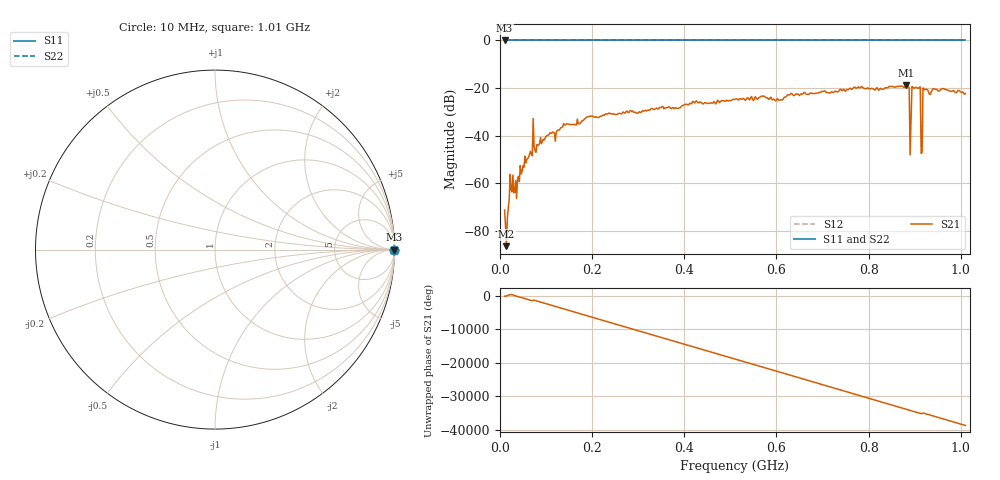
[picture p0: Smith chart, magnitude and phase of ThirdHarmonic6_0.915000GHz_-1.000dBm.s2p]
! 8/16/2025 5:55:47 AM
! C:\ANRITSUVNA\TEMP\TEMP.S2P
! CHANNEL.1
! TR.MEASUREMENT
! RAW.DATA
! RF.CORRECTION.OFF
! AVERAGING.OFF
! IF.BANDWIDTH: 5KHZ
! SWEEPTYPE:  FREQ.SWEEP(Linear)
! Reference Plane Port Info
! PORT:  PORT1  PORT2
! DISTANCE:  0  m  0  m
! TIME:  0  s  0  s
! PHASE.OFFSET:  0  deg.  0  deg.
! LOSS:  0  dB  0  dB
! REF.LOSS:  0  dB  0  dB
! REF.FREQ:  0  Hz  0  Hz
! Power Info
! POWER:  -20  dBm  -20  dBm
! EFF.POWER:  -20  dBm  -20  dBm
! SOURCE.ATTEN:  0  dB  0  dB
! TEST.ATTEN:  0  dB  0  dB
# GHZ S RI R 50.0
! FREQ.GHZ  S11RE  S11IM  S21RE  S21IM  S12RE  S12IM  S22RE  S22IM
!; PortSelection: Port_12
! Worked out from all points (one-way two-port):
!   501 points, 10 MHz to 1.01 GHz, reference 50 ohm
!   highest |S21| = -18.70 dB at 882 MHz (marker M1); lowest = -86.4 dB at 14 MHz (marker M2)
!   lowest |S11| = 0.0 dB at 10 MHz (marker M3)
!   |S11| at or under -10 dB: nowhere
!   |S22| runs from 0.0 to 0.0 dB; largest |S21 - S12| = 1.1
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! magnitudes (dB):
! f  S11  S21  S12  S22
! 10 MHz  0.0  -71.2  0.0  0.0
! 14 MHz  0.0  -86.4  0.0  0.0
! 24 MHz  0.0  -62.7  0.0  0.0
! 34 MHz  0.0  -58.9  0.0  0.0
! 70 MHz  0.0  -48.5  0.0  0.0
! 142 MHz  0.0  -35.5  0.0  0.0
! 178 MHz  0.0  -33.7  0.0  0.0
! 344 MHz  0.0  -28.7  0.0  0.0
! 510 MHz  0.0  -24.8  0.0  0.0
! 678 MHz  0.0  -22.3  0.0  0.0
! 844 MHz  0.0  -19.4  0.0  0.0
! 882 MHz  0.0  -18.7  0.0  0.0
! 884 MHz  0.0  -18.9  0.0  0.0
! 888 MHz  0.0  -20.2  0.0  0.0
! 892 MHz  0.0  -33.3  0.0  0.0
! 894 MHz  0.0  -19.4  0.0  0.0
! 898 MHz  0.0  -20.0  0.0  0.0
! 908 MHz  0.0  -20.1  0.0  0.0
! 912 MHz  0.0  -19.5  0.0  0.0
! 918 MHz  0.0  -20.0  0.0  0.0
! 922 MHz  0.0  -20.8  0.0  0.0
! 1.01 GHz  0.0  -22.3  0.0  0.0
